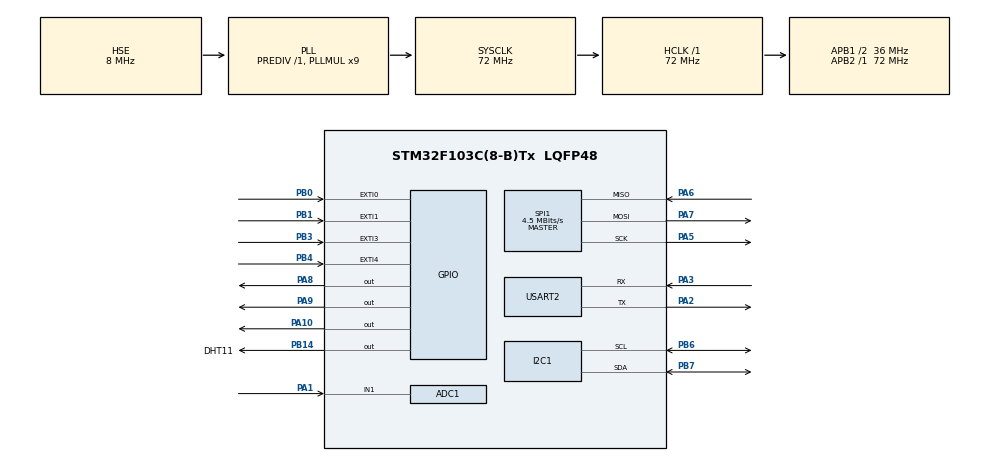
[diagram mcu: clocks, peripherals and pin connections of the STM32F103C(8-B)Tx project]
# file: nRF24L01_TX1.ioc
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ADC1.Channel-0\#ChannelRegularConversion=ADC_CHANNEL_1
ADC1.ContinuousConvMode=ENABLE
ADC1.NbrOfConversionFlag=1
ADC1.Rank-0\#ChannelRegularConversion=1
ADC1.SamplingTime-0\#ChannelRegularConversion=ADC_SAMPLETIME_1CYCLE_5
ADC1.master=1
Mcu.Family=STM32F1
Mcu.Name=STM32F103C(8-B)Tx
Mcu.Package=LQFP48
NVIC.EXTI0_IRQn=true\:1\:0\:true\:false\:true\:true\:true
NVIC.EXTI1_IRQn=true\:2\:0\:true\:false\:true\:true\:true
NVIC.EXTI3_IRQn=true\:2\:0\:true\:false\:true\:true\:true
NVIC.EXTI4_IRQn=true\:2\:0\:true\:false\:true\:true\:true
NVIC.PriorityGroup=NVIC_PRIORITYGROUP_4
PA1.Signal=ADCx_IN1
PA10.Signal=GPIO_Output
PA13.Mode=Serial_Wire
PA13.Signal=SYS_JTMS-SWDIO
PA14.Mode=Serial_Wire
PA14.Signal=SYS_JTCK-SWCLK
PA2.Mode=Asynchronous
PA2.Signal=USART2_TX
PA3.Mode=Asynchronous
PA3.Signal=USART2_RX
PA5.Mode=Full_Duplex_Master
PA5.Signal=SPI1_SCK
PA6.Mode=Full_Duplex_Master
PA6.Signal=SPI1_MISO
PA7.Mode=Full_Duplex_Master
PA7.Signal=SPI1_MOSI
PA8.Signal=GPIO_Output
PA9.Signal=GPIO_Output
PB0.GPIO_ModeDefaultEXTI=GPIO_MODE_IT_FALLING
PB0.GPIO_PuPd=GPIO_PULLUP
PB0.Signal=GPXTI0
PB1.GPIO_ModeDefaultEXTI=GPIO_MODE_IT_FALLING
PB1.GPIO_PuPd=GPIO_PULLUP
PB1.Signal=GPXTI1
PB14.GPIO_Label=DHT11
PB14.GPIO_Speed=GPIO_SPEED_FREQ_HIGH
PB14.PinState=GPIO_PIN_SET
PB14.Signal=GPIO_Output
PB3.GPIO_ModeDefaultEXTI=GPIO_MODE_IT_FALLING
PB3.GPIO_PuPd=GPIO_PULLUP
PB3.Signal=GPXTI3
PB4.GPIO_ModeDefaultEXTI=GPIO_MODE_IT_FALLING
PB4.GPIO_PuPd=GPIO_PULLUP
PB4.Signal=GPXTI4
PB6.Mode=I2C
PB6.Signal=I2C1_SCL
PB7.Mode=I2C
PB7.Signal=I2C1_SDA
PD0-OSC_IN.Mode=HSE-External-Oscillator
PD0-OSC_IN.Signal=RCC_OSC_IN
PD1-OSC_OUT.Mode=HSE-External-Oscillator
PD1-OSC_OUT.Signal=RCC_OSC_OUT
ProjectManager.HeapSize=0x200
ProjectManager.StackSize=0x400
ProjectManager.TargetToolchain=MDK-ARM V5
RCC.ADCPresc=RCC_ADCPCLK2_DIV6
RCC.AHBFreq_Value=72000000
RCC.APB1CLKDivider=RCC_HCLK_DIV2
RCC.APB1Freq_Value=36000000
RCC.APB1TimFreq_Value=72000000
RCC.APB2Freq_Value=72000000
RCC.APB2TimFreq_Value=72000000
RCC.HCLKFreq_Value=72000000
RCC.PLLMUL=RCC_PLL_MUL9
RCC.PLLSourceVirtual=RCC_PLLSOURCE_HSE
RCC.SYSCLKFreq_VALUE=72000000
RCC.SYSCLKSource=RCC_SYSCLKSOURCE_PLLCLK
RCC.USBFreq_Value=72000000
SH.ADCx_IN1.0=ADC1_IN1,IN1
SPI1.BaudRatePrescaler=SPI_BAUDRATEPRESCALER_16
SPI1.CalculateBaudRate=4.5 MBits/s
SPI1.Direction=SPI_DIRECTION_2LINES
SPI1.Mode=SPI_MODE_MASTER
SPI1.VirtualType=VM_MASTER
TIM2.Prescaler=72-1
TIM4.Prescaler=36000-1
USART2.VirtualMode=VM_ASYNC
VP_TIM2_VS_ClockSourceINT.Mode=Internal
VP_TIM4_VS_ClockSourceINT.Mode=Internal
board=custom

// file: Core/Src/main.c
/* USER CODE BEGIN Header */
/**
  ******************************************************************************
  * @file           : main.c
  * @brief          : Main program body
  ******************************************************************************
  * @attention
  *
  * <h2><center>&copy; Copyright (c) 2021 STMicroelectronics.
  * All rights reserved.</center></h2>
  *
  * This software component is licensed by ST under BSD 3-Clause license,
  * the "License"; You may not use this file except in compliance with the
  * License. You may obtain a copy of the License at:
  *                        opensource.org/licenses/BSD-3-Clause
  *
  ******************************************************************************
  */
/* USER CODE END Header */
#include "main.h"

/* USER CODE BEGIN Includes */
#include "NRF24L01.h"
#include "string.h"
#include "stdio.h"
#include "i2c-lcd.h"
#include "cJSON.h"
#include "cJSON_Utils.h"
#include <stdlib.h>
/* USER CODE END Includes */

ADC_HandleTypeDef hadc1;

I2C_HandleTypeDef hi2c1;

SPI_HandleTypeDef hspi1;

TIM_HandleTypeDef htim2;
TIM_HandleTypeDef htim4;

UART_HandleTypeDef huart2;

/* USER CODE BEGIN PV */
uint8_t RxAdrdress[]={0x11,0xDD,0xCC,0xBB,0xAA};

uint8_t RxData[32];
uint8_t RxData1[32];
uint8_t TxData1[32];
float voltage_value,adc_value,moisture_value;
int moisturefinal=0;
int lcdset=1;
uint16_t rh_byte1,rh_byte2, temp_byte1,temp_byte2;
uint16_t sum,rh,temp,presence=0;
int temperature=0,humidity=0;

cJSON *str_json1, *str_json2, *str_json3,*str_ND1,*str_DA1,*str_DAD1,*str_ND2,*str_DA2,*str_DAD2,*str_ND3,*str_DA3,*str_DAD3;
uint8_t ND1_1,DA1_1,DAD1_1,ND1_2,DA1_2,DAD1_2,ND1_3,DA1_3,DAD1_3;
/* USER CODE END PV */

void SystemClock_Config(void);
static void MX_GPIO_Init(void);
static void MX_SPI1_Init(void);
static void MX_ADC1_Init(void);
static void MX_TIM2_Init(void);
static void MX_USART2_UART_Init(void);
static void MX_I2C1_Init(void);
static void MX_TIM4_Init(void);
/* USER CODE BEGIN PFP */

void delay(uint16_t time)
{
	__HAL_TIM_SET_COUNTER(&htim2,0);
	while((__HAL_TIM_GET_COUNTER(&htim2))<time);
}

void set_pin_output(GPIO_TypeDef *GPIOx, uint16_t GPIO_Pin)
{
	GPIO_InitTypeDef GPIO_InitStruct = {0};
	GPIO_InitStruct.Pin = GPIO_Pin;
  	GPIO_InitStruct.Mode = GPIO_MODE_OUTPUT_PP;
  	GPIO_InitStruct.Speed = GPIO_SPEED_FREQ_LOW;
  	HAL_GPIO_Init(GPIOx, &GPIO_InitStruct);
}
void set_pin_input(GPIO_TypeDef *GPIOx, uint16_t GPIO_Pin)
{
	GPIO_InitTypeDef GPIO_InitStruct = {0};
	GPIO_InitStruct.Pin = GPIO_Pin;
  	GPIO_InitStruct.Mode = GPIO_MODE_INPUT;
  	GPIO_InitStruct.Pull = GPIO_NOPULL;
  	HAL_GPIO_Init(GPIOx, &GPIO_InitStruct);
}
void dht11_init(void)
{
	set_pin_output(DHT11_GPIO_Port,DHT11_Pin);
	HAL_GPIO_WritePin(DHT11_GPIO_Port,DHT11_Pin,GPIO_PIN_RESET);
	HAL_Delay(25);
	HAL_GPIO_WritePin(DHT11_GPIO_Port,DHT11_Pin,GPIO_PIN_SET);
	delay(30);
	set_pin_input(DHT11_GPIO_Port,DHT11_Pin);

}
short check_response(){
  delay(40);
  if(!HAL_GPIO_ReadPin(DHT11_GPIO_Port,DHT11_Pin)){                     // Read and test if connection pin is low
    delay(80);
    if(HAL_GPIO_ReadPin(DHT11_GPIO_Port,DHT11_Pin)){                    // Read and test if connection pin is high
      delay(50);
      return 1;}
    }
	return 0;
}

uint8_t read(void)
{
	uint8_t i,j;
	for(j=0;j<8;j++)
	{
		while (!(HAL_GPIO_ReadPin (DHT11_GPIO_Port,DHT11_Pin)));
		delay(40);
		if(!HAL_GPIO_ReadPin (DHT11_GPIO_Port, DHT11_Pin))
		{
			i&= ~(1<<(7-j));
		}
		else
		{
			i|= (1<<(7-j));
		}
		while ((HAL_GPIO_ReadPin (DHT11_GPIO_Port,DHT11_Pin)));

  }
			return i	;
}
void ParseData(char * TxData, uint8_t temp, uint8_t humi, uint8_t moil){
	char Temperature[10];
	char Humidity[10];
	char Doamdat[10];
	for (int i=0;i<strlen(TxData);i++){
		TxData[i]=0;
	}
	sprintf(Doamdat,"%d",moil);
	sprintf(Temperature,"%d",temp);
	sprintf(Humidity,"%d",humi);

	strcat(TxData,"{\"T3\":\"");
	strcat(TxData,Temperature);
	strcat(TxData,"\",");

	strcat(TxData,"\"H3\":\"");
	strcat(TxData,Humidity);
	strcat(TxData,"\",");

	strcat(TxData,"\"M3\":\"");
	strcat(TxData,Doamdat);
	strcat(TxData,"\"}");
}
void getdata(){
	HAL_TIM_Base_Start(&htim2);
	dht11_init();
	presence=check_response();
	rh_byte1=read();
	rh_byte2=read();
	temp_byte1=read();
	temp_byte2=read();
	sum=read();
	temp=temp_byte1;
	rh=rh_byte1;
	temperature=(int) temp;//temp
	humidity=(int) rh;//humi
	adc_value= HAL_ADC_GetValue(&hadc1);
	voltage_value=(adc_value/4096)*3.3;
	moisture_value= (100-(voltage_value/3.3)*100);
	moisturefinal = (int)moisture_value;//mois
}
void Lcdtrangchu(){
	lcd_clear();
	lcd_put_cur(0,0);
	lcd_send_string("Trang chu");
	lcd_put_cur(1,0);
	lcd_send_string("Smart Garden");
	lcd_put_cur(2,0);
	lcd_send_string("Moi chon nut");
	lcd_put_cur(3,0);
	lcd_send_string("Trai           Phai");

}
void lcdnode1(){
	char send[20];
	char send1[20];
	char send2[20];
	lcd_clear();
	lcd_put_cur(0,0);
	lcd_send_string("NODE1");
	lcd_put_cur(1,0);
	sprintf(send,"Temp: %d ", ND1_1);
	lcd_send_string(send);
	lcd_put_cur(2,0);
	sprintf(send1,"Humi: %d ", DA1_1);
	lcd_send_string(send1);
	lcd_put_cur(3,0);
	sprintf(send2,"Mois: %d ", DAD1_1);
	lcd_send_string(send2);
}
void lcdnode2(){
	char send[20];
	char send1[20];
	char send2[20];
	lcd_clear();
	lcd_put_cur(0,0);
	lcd_send_string("NODE2");
	lcd_put_cur(1,0);
	sprintf(send,"Temp: %d ", ND1_2);
	lcd_send_string(send);
	lcd_put_cur(2,0);
	sprintf(send1,"Humi: %d ", DA1_2);
	lcd_send_string(send1);
	lcd_put_cur(3,0);
	sprintf(send2,"Mois: %d ", DAD1_2);
	lcd_send_string(send2);
}
void lcdnode3(){
	char send[20];
	char send1[20];
	char send2[20];
	lcd_clear();
	lcd_put_cur(0,0);
	lcd_send_string("NODE3");
	lcd_put_cur(1,0);
	sprintf(send,"Temp: %d ", ND1_3);
	lcd_send_string(send);
	lcd_put_cur(2,0);
	sprintf(send1,"Humi: %d ", DA1_3);
	lcd_send_string(send1);
	lcd_put_cur(3,0);
	sprintf(send2,"Mois: %d ", DAD1_3);
	lcd_send_string(send2);
}
void XuLyJSON1(char *data1)
{

	str_json1 = cJSON_Parse(data1);
	if (!str_json1)
  {
			printf("JSON1 error\r\n");
			return;
  }

	else
	{
		printf("JSON OKE\r\n");
		//{"Bom":"0"} {"Bom":"1"}
		str_ND1 = cJSON_GetObjectItem(str_json1, "T1");
		str_DA1 = cJSON_GetObjectItem(str_json1, "H1");
		str_DAD1 = cJSON_GetObjectItem(str_json1, "M1");
      // node1
		if(str_ND1->type == cJSON_String){
			ND1_1=atoi(str_ND1->valuestring);
		}
		if(str_DA1->type == cJSON_String){
			DA1_1=atoi(str_DA1->valuestring);
		}
		if(str_DAD1->type == cJSON_String){
			DAD1_1=atoi(str_DAD1->valuestring);
		}
		cJSON_Delete(str_json1);

	}
}
void XuLyJSON2(char *data2)
{

	str_json2 = cJSON_Parse(data2);
	if (!str_json2)
  {
			printf("JSON2 error\r\n");
			return;
  }

	else
	{
		printf("JSON OKE\r\n");
		//{"Bom":"0"} {"Bom":"1"}
		str_ND2 = cJSON_GetObjectItem(str_json2, "T2");
		str_DA2 = cJSON_GetObjectItem(str_json2, "H2");
		str_DAD2 = cJSON_GetObjectItem(str_json2, "M2");
      // node1
		if(str_ND2->type == cJSON_String){
			ND1_2=atoi(str_ND2->valuestring);
		}
		if(str_DA2->type == cJSON_String){
			DA1_2=atoi(str_DA2->valuestring);
		}
		if(str_DAD2->type == cJSON_String){
			DAD1_2=atoi(str_DAD2->valuestring);
		}
		cJSON_Delete(str_json2);

	}
}
void XuLyJSON3(char *data3)
{

	str_json3 = cJSON_Parse(data3);
	if (!str_json3)
  {
			printf("JSON3 error\r\n");
			return;
  }

	else
	{
		printf("JSON OKE\r\n");
		//{"Bom":"0"} {"Bom":"1"}
		str_ND3 = cJSON_GetObjectItem(str_json3, "T3");
		str_DA3 = cJSON_GetObjectItem(str_json3, "H3");
		str_DAD3 = cJSON_GetObjectItem(str_json3, "M3");
      // node1
		if(str_ND3->type == cJSON_String){
			ND1_3=atoi(str_ND3->valuestring);
		}
		if(str_DA3->type == cJSON_String){
			DA1_3=atoi(str_DA3->valuestring);
		}
		if(str_DAD3->type == cJSON_String){
			DAD1_3=atoi(str_DAD3->valuestring);
		}
		cJSON_Delete(str_json3);

	}
}
/* USER CODE END PFP */

/* USER CODE BEGIN 0 */
#ifdef __GNUC__
     #define PUTCHAR_PROTOTYPE int __io_putchar(int ch)
#else
     #define PUTCHAR_PROTOTYPE int fputc(int ch, FILE *f)
#endif
PUTCHAR_PROTOTYPE
{
	HAL_UART_Transmit(&huart2,(uint8_t *)&ch,1,0xFFFF);
	return ch;
}

void HAL_GPIO_EXTI_Callback(uint16_t GPIO_Pin)
{
	HAL_ResumeTick();

	if(GPIO_Pin == GPIO_PIN_0){
		int a;

		HAL_GPIO_TogglePin(GPIOA,GPIO_PIN_10);
		if(IsDataAvailable(1)==1)
			{

				NRF24_Receive(RxData);
			}
		if(IsDataAvailable(2)==1)
			{
				__HAL_TIM_SetCounter(&htim4,0);
				NRF24_Receive(RxData1);
				getdata();
				ParseData((char *)TxData1,temperature, humidity,moisturefinal);
				printf("%s\n",RxData);
				XuLyJSON1((char *)RxData);
				XuLyJSON2((char *)RxData1);
				XuLyJSON3((char *)TxData1);
				a = __HAL_TIM_GetCounter(&htim4);
				printf("%d\n",a);
			}
	}
	else if(GPIO_Pin == GPIO_PIN_3)
	{
		int b;
		while(HAL_GPIO_ReadPin(GPIOB,GPIO_PIN_3)==0);
		__HAL_TIM_SetCounter(&htim4,0);
		lcdset+=1;
		if(lcdset == 5)
		{
			lcdset=1;
		}
		switch (lcdset)
		{
		case 1:
			Lcdtrangchu();
		  break;
    case 2:
			lcdnode1();
      break;
    case 3:
			lcdnode2();
      break;
		case 4:
			lcdnode3();
    default:
			break;
    }
		b = __HAL_TIM_GetCounter(&htim4);
		printf("%d\n",b);
	}
	else if(GPIO_Pin == GPIO_PIN_1)
	{
		while(HAL_GPIO_ReadPin(GPIOB,GPIO_PIN_1)==0);
		lcdset-=1;
		if(lcdset == 0)
		{
			lcdset=4;
		}
		switch (lcdset)
		{
		case 1:
			Lcdtrangchu();
		  break;
    case 2:
			lcdnode1();
      break;
    case 3:
			lcdnode2();
      break;
		case 4:
			lcdnode3();
    default:
			break;
    }
	}
//	else if(GPIO_Pin == GPIO_PIN_4){
//		while(HAL_GPIO_ReadPin(GPIOB,GPIO_PIN_4)==0);
//
//	}
}

/* USER CODE END 0 */

int main(void)
{

  /* MCU Configuration--------------------------------------------------------*/

  /* Reset of all peripherals, Initializes the Flash interface and the Systick. */
  HAL_Init();

  /* Configure the system clock */
  SystemClock_Config();

  /* Initialize all configured peripherals */
  MX_GPIO_Init();
  MX_SPI1_Init();
  MX_ADC1_Init();
  MX_TIM2_Init();
  MX_USART2_UART_Init();
  MX_I2C1_Init();
  MX_TIM4_Init();
  /* USER CODE BEGIN 2 */
	HAL_TIM_Base_Start(&htim4);
	HAL_ADC_Start(&hadc1);
	lcd_init();
	Lcdtrangchu();
	NRF24_Init();
	NRF24_RxMode(RxAdrdress, 10);

  /* USER CODE END 2 */

  /* Infinite loop */
  while (1)
  {

    /* USER CODE BEGIN 3 */
		HAL_SuspendTick();
		HAL_PWR_EnterSLEEPMode(PWR_LOWPOWERREGULATOR_ON, PWR_SLEEPENTRY_WFI);

  }
  /* USER CODE END 3 */
}

void SystemClock_Config(void)
{
  RCC_OscInitTypeDef RCC_OscInitStruct = {0};
  RCC_ClkInitTypeDef RCC_ClkInitStruct = {0};
  RCC_PeriphCLKInitTypeDef PeriphClkInit = {0};

  /** Initializes the RCC Oscillators according to the specified parameters
  * in the RCC_OscInitTypeDef structure.
  */
  RCC_OscInitStruct.OscillatorType = RCC_OSCILLATORTYPE_HSE;
  RCC_OscInitStruct.HSEState = RCC_HSE_ON;
  RCC_OscInitStruct.HSEPredivValue = RCC_HSE_PREDIV_DIV1;
  RCC_OscInitStruct.HSIState = RCC_HSI_ON;
  RCC_OscInitStruct.PLL.PLLState = RCC_PLL_ON;
  RCC_OscInitStruct.PLL.PLLSource = RCC_PLLSOURCE_HSE;
  RCC_OscInitStruct.PLL.PLLMUL = RCC_PLL_MUL9;
  if (HAL_RCC_OscConfig(&RCC_OscInitStruct) != HAL_OK)
  {
    Error_Handler();
  }
  /** Initializes the CPU, AHB and APB buses clocks
  */
  RCC_ClkInitStruct.ClockType = RCC_CLOCKTYPE_HCLK|RCC_CLOCKTYPE_SYSCLK
                              |RCC_CLOCKTYPE_PCLK1|RCC_CLOCKTYPE_PCLK2;
  RCC_ClkInitStruct.SYSCLKSource = RCC_SYSCLKSOURCE_PLLCLK;
  RCC_ClkInitStruct.AHBCLKDivider = RCC_SYSCLK_DIV1;
  RCC_ClkInitStruct.APB1CLKDivider = RCC_HCLK_DIV2;
  RCC_ClkInitStruct.APB2CLKDivider = RCC_HCLK_DIV1;

  if (HAL_RCC_ClockConfig(&RCC_ClkInitStruct, FLASH_LATENCY_2) != HAL_OK)
  {
    Error_Handler();
  }
  PeriphClkInit.PeriphClockSelection = RCC_PERIPHCLK_ADC;
  PeriphClkInit.AdcClockSelection = RCC_ADCPCLK2_DIV6;
  if (HAL_RCCEx_PeriphCLKConfig(&PeriphClkInit) != HAL_OK)
  {
    Error_Handler();
  }
}

static void MX_ADC1_Init(void)
{

  ADC_ChannelConfTypeDef sConfig = {0};

  /** Common config
  */
  hadc1.Instance = ADC1;
  hadc1.Init.ScanConvMode = ADC_SCAN_DISABLE;
  hadc1.Init.ContinuousConvMode = ENABLE;
  hadc1.Init.DiscontinuousConvMode = DISABLE;
  hadc1.Init.ExternalTrigConv = ADC_SOFTWARE_START;
  hadc1.Init.DataAlign = ADC_DATAALIGN_RIGHT;
  hadc1.Init.NbrOfConversion = 1;
  if (HAL_ADC_Init(&hadc1) != HAL_OK)
  {
    Error_Handler();
  }
  /** Configure Regular Channel
  */
  sConfig.Channel = ADC_CHANNEL_1;
  sConfig.Rank = ADC_REGULAR_RANK_1;
  sConfig.SamplingTime = ADC_SAMPLETIME_1CYCLE_5;
  if (HAL_ADC_ConfigChannel(&hadc1, &sConfig) != HAL_OK)
  {
    Error_Handler();
  }

}

static void MX_I2C1_Init(void)
{

  hi2c1.Instance = I2C1;
  hi2c1.Init.ClockSpeed = 100000;
  hi2c1.Init.DutyCycle = I2C_DUTYCYCLE_2;
  hi2c1.Init.OwnAddress1 = 0;
  hi2c1.Init.AddressingMode = I2C_ADDRESSINGMODE_7BIT;
  hi2c1.Init.DualAddressMode = I2C_DUALADDRESS_DISABLE;
  hi2c1.Init.OwnAddress2 = 0;
  hi2c1.Init.GeneralCallMode = I2C_GENERALCALL_DISABLE;
  hi2c1.Init.NoStretchMode = I2C_NOSTRETCH_DISABLE;
  if (HAL_I2C_Init(&hi2c1) != HAL_OK)
  {
    Error_Handler();
  }

}

static void MX_SPI1_Init(void)
{

  /* SPI1 parameter configuration*/
  hspi1.Instance = SPI1;
  hspi1.Init.Mode = SPI_MODE_MASTER;
  hspi1.Init.Direction = SPI_DIRECTION_2LINES;
  hspi1.Init.DataSize = SPI_DATASIZE_8BIT;
  hspi1.Init.CLKPolarity = SPI_POLARITY_LOW;
  hspi1.Init.CLKPhase = SPI_PHASE_1EDGE;
  hspi1.Init.NSS = SPI_NSS_SOFT;
  hspi1.Init.BaudRatePrescaler = SPI_BAUDRATEPRESCALER_16;
  hspi1.Init.FirstBit = SPI_FIRSTBIT_MSB;
  hspi1.Init.TIMode = SPI_TIMODE_DISABLE;
  hspi1.Init.CRCCalculation = SPI_CRCCALCULATION_DISABLE;
  hspi1.Init.CRCPolynomial = 10;
  if (HAL_SPI_Init(&hspi1) != HAL_OK)
  {
    Error_Handler();
  }

}

static void MX_TIM2_Init(void)
{

  TIM_ClockConfigTypeDef sClockSourceConfig = {0};
  TIM_MasterConfigTypeDef sMasterConfig = {0};

  htim2.Instance = TIM2;
  htim2.Init.Prescaler = 72-1;
  htim2.Init.CounterMode = TIM_COUNTERMODE_UP;
  htim2.Init.Period = 65535;
  htim2.Init.ClockDivision = TIM_CLOCKDIVISION_DIV1;
  htim2.Init.AutoReloadPreload = TIM_AUTORELOAD_PRELOAD_DISABLE;
  if (HAL_TIM_Base_Init(&htim2) != HAL_OK)
  {
    Error_Handler();
  }
  sClockSourceConfig.ClockSource = TIM_CLOCKSOURCE_INTERNAL;
  if (HAL_TIM_ConfigClockSource(&htim2, &sClockSourceConfig) != HAL_OK)
  {
    Error_Handler();
  }
  sMasterConfig.MasterOutputTrigger = TIM_TRGO_RESET;
  sMasterConfig.MasterSlaveMode = TIM_MASTERSLAVEMODE_DISABLE;
  if (HAL_TIMEx_MasterConfigSynchronization(&htim2, &sMasterConfig) != HAL_OK)
  {
    Error_Handler();
  }

}

static void MX_TIM4_Init(void)
{

  TIM_ClockConfigTypeDef sClockSourceConfig = {0};
  TIM_MasterConfigTypeDef sMasterConfig = {0};

  htim4.Instance = TIM4;
  htim4.Init.Prescaler = 36000-1;
  htim4.Init.CounterMode = TIM_COUNTERMODE_UP;
  htim4.Init.Period = 65535;
  htim4.Init.ClockDivision = TIM_CLOCKDIVISION_DIV1;
  htim4.Init.AutoReloadPreload = TIM_AUTORELOAD_PRELOAD_DISABLE;
  if (HAL_TIM_Base_Init(&htim4) != HAL_OK)
  {
    Error_Handler();
  }
  sClockSourceConfig.ClockSource = TIM_CLOCKSOURCE_INTERNAL;
  if (HAL_TIM_ConfigClockSource(&htim4, &sClockSourceConfig) != HAL_OK)
  {
    Error_Handler();
  }
  sMasterConfig.MasterOutputTrigger = TIM_TRGO_RESET;
  sMasterConfig.MasterSlaveMode = TIM_MASTERSLAVEMODE_DISABLE;
  if (HAL_TIMEx_MasterConfigSynchronization(&htim4, &sMasterConfig) != HAL_OK)
  {
    Error_Handler();
  }

}

static void MX_USART2_UART_Init(void)
{

  huart2.Instance = USART2;
  huart2.Init.BaudRate = 115200;
  huart2.Init.WordLength = UART_WORDLENGTH_8B;
  huart2.Init.StopBits = UART_STOPBITS_1;
  huart2.Init.Parity = UART_PARITY_NONE;
  huart2.Init.Mode = UART_MODE_TX_RX;
  huart2.Init.HwFlowCtl = UART_HWCONTROL_NONE;
  huart2.Init.OverSampling = UART_OVERSAMPLING_16;
  if (HAL_UART_Init(&huart2) != HAL_OK)
  {
    Error_Handler();
  }

}

static void MX_GPIO_Init(void)
{
  GPIO_InitTypeDef GPIO_InitStruct = {0};

  /* GPIO Ports Clock Enable */
  __HAL_RCC_GPIOD_CLK_ENABLE();
  __HAL_RCC_GPIOA_CLK_ENABLE();
  __HAL_RCC_GPIOB_CLK_ENABLE();

  /*Configure GPIO pin Output Level */
  HAL_GPIO_WritePin(DHT11_GPIO_Port, DHT11_Pin, GPIO_PIN_SET);

  /*Configure GPIO pin Output Level */
  HAL_GPIO_WritePin(GPIOA, GPIO_PIN_8|GPIO_PIN_9|GPIO_PIN_10, GPIO_PIN_RESET);

  /*Configure GPIO pins : PB0 PB1 PB3 PB4 */
  GPIO_InitStruct.Pin = GPIO_PIN_0|GPIO_PIN_1|GPIO_PIN_3|GPIO_PIN_4;
  GPIO_InitStruct.Mode = GPIO_MODE_IT_FALLING;
  GPIO_InitStruct.Pull = GPIO_PULLUP;
  HAL_GPIO_Init(GPIOB, &GPIO_InitStruct);

  /*Configure GPIO pin : DHT11_Pin */
  GPIO_InitStruct.Pin = DHT11_Pin;
  GPIO_InitStruct.Mode = GPIO_MODE_OUTPUT_PP;
  GPIO_InitStruct.Pull = GPIO_NOPULL;
  GPIO_InitStruct.Speed = GPIO_SPEED_FREQ_HIGH;
  HAL_GPIO_Init(DHT11_GPIO_Port, &GPIO_InitStruct);

  /*Configure GPIO pins : PA8 PA9 PA10 */
  GPIO_InitStruct.Pin = GPIO_PIN_8|GPIO_PIN_9|GPIO_PIN_10;
  GPIO_InitStruct.Mode = GPIO_MODE_OUTPUT_PP;
  GPIO_InitStruct.Pull = GPIO_NOPULL;
  GPIO_InitStruct.Speed = GPIO_SPEED_FREQ_LOW;
  HAL_GPIO_Init(GPIOA, &GPIO_InitStruct);

  /* EXTI interrupt init*/
  HAL_NVIC_SetPriority(EXTI0_IRQn, 1, 0);
  HAL_NVIC_EnableIRQ(EXTI0_IRQn);

  HAL_NVIC_SetPriority(EXTI1_IRQn, 2, 0);
  HAL_NVIC_EnableIRQ(EXTI1_IRQn);

  HAL_NVIC_SetPriority(EXTI3_IRQn, 2, 0);
  HAL_NVIC_EnableIRQ(EXTI3_IRQn);

  HAL_NVIC_SetPriority(EXTI4_IRQn, 2, 0);
  HAL_NVIC_EnableIRQ(EXTI4_IRQn);

}

void Error_Handler(void)
{
  __disable_irq();
  while (1)
  {
  }
}

/************************ (C) COPYRIGHT STMicroelectronics *****END OF FILE****/
